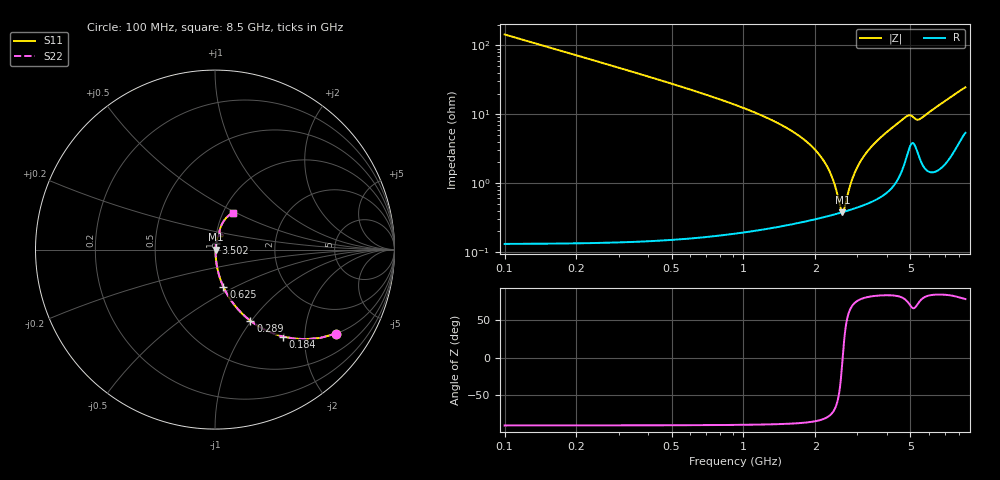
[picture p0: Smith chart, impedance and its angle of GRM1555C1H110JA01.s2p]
!Murata Part Number: GRM1555C1H110JA01
!These Parameters are Measured in Series Mode Connection
!Data Generated on Mar 30, 2021
!  o--ll--o
!Port1  Port2
!  o------o
!Operation Temp=25[degC], DC Bias Voltage=0[V]
!Freq. Start=100[MHz] Stop=9[GHz] 401[Steps]
# Hz S RI R 50
!Freq.(Hz) S11(Real) S11(Imag) S21(Real) S21(Imag) S12(Real) S12(Imag) S22(Real) S22(Imag)
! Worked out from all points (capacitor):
!   401 points, 100 MHz to 8.5 GHz, reference 50 ohm
!   read as one part in series: C = 11 pF near 142 MHz
!   lowest |Z| = 379 mohm at 2.599 GHz (marker M1)
!   series resonance near 2.604 GHz, so ESL is about 340 pH
!   S11 on the Smith chart (normalised r, x): 100 MHz: 1.00, -2.89; 184 MHz: 1.00, -1.56; 289 MHz: 1.00, -0.99; 625 MHz: 1.00, -0.44; 3.502 GHz: 1.01, +0.07; 8.5 GHz: 1.11, +0.48
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1e8  0.6759 -0.4676  0.3241 0.4676  0.3241 0.4676  0.6759 -0.4676
1.84e8  0.3799 -0.4845  0.6201 0.4845  0.6201 0.4845  0.3799 -0.4845
2.89e8  0.1972 -0.3965  0.8028 0.3965  0.8028 0.3965  0.1972 -0.3965
4.15e8  0.1046 -0.3039  0.8954 0.3039  0.8954 0.3039  0.1046 -0.3039
6.25e8  0.0469 -0.2077  0.9531 0.2077  0.9531 0.2077  0.0469 -0.2077
1.507e9  0.00651 -0.0638  0.9935 0.0638  0.9935 0.0638  0.00651 -0.0638
1.906e9  0.00413 -0.0355  0.9959 0.0355  0.9959 0.0355  0.00413 -0.0355
2.179e9  0.00361 -0.0202  0.9964 0.0202  0.9964 0.0202  0.00361 -0.0202
2.368e9  0.00356 -0.0108  0.9964 0.0108  0.9964 0.0108  0.00356 -0.0108
2.557e9  0.00371 -0.00209  0.9963 0.00209  0.9963 0.00209  0.00371 -0.00209
2.599e9  0.00377 -0.000232  0.9962 0.000232  0.9962 0.000232  0.00377 -0.000232
2.641e9  0.00383 0.0016  0.9962 -0.0016  0.9962 -0.0016  0.00383 0.0016
2.788e9  0.00412 0.00782  0.9959 -0.00782  0.9959 -0.00782  0.00412 0.00782
2.914e9  0.00443 0.013  0.9956 -0.013  0.9956 -0.013  0.00443 0.013
3.166e9  0.00524 0.0229  0.9948 -0.0229  0.9948 -0.0229  0.00524 0.0229
3.502e9  0.00674 0.0356  0.9933 -0.0356  0.9933 -0.0356  0.00674 0.0356
4.3e9  0.0139 0.0662  0.9861 -0.0662  0.9861 -0.0662  0.0139 0.0662
4.888e9  0.0349 0.0859  0.9651 -0.0859  0.9651 -0.0859  0.0349 0.0859
5.35e9  0.0332 0.0737  0.9668 -0.0737  0.9668 -0.0737  0.0332 0.0737
5.707e9  0.0247 0.0888  0.9753 -0.0888  0.9753 -0.0888  0.0247 0.0888
7.114e9  0.0439 0.1516  0.9561 -0.1516  0.9561 -0.1516  0.0439 0.1516
8.5e9  0.0978 0.2055  0.9022 -0.2055  0.9022 -0.2055  0.0978 0.2055
